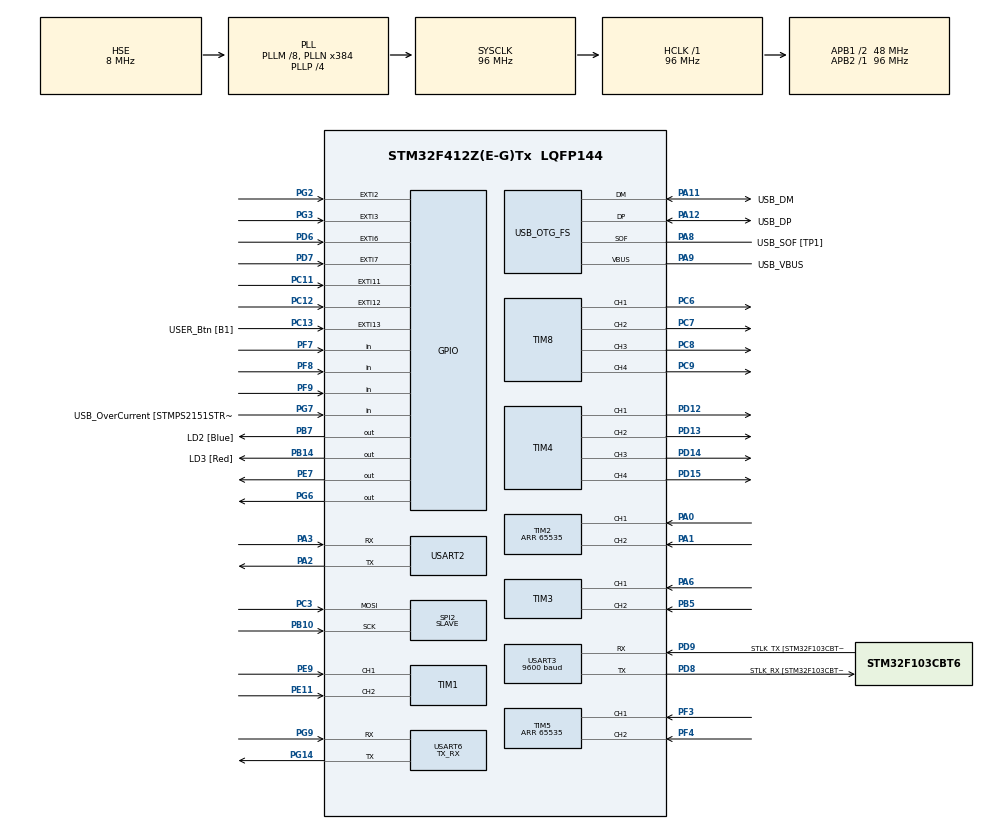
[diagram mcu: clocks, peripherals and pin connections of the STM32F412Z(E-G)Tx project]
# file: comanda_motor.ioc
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Dma.Request0=USART2_RX
Dma.Request1=USART3_RX
Dma.Request2=USART6_RX
Dma.Request3=USART3_TX
Dma.USART2_RX.0.Direction=DMA_PERIPH_TO_MEMORY
Dma.USART2_RX.0.FIFOMode=DMA_FIFOMODE_DISABLE
Dma.USART2_RX.0.Instance=DMA1_Stream5
Dma.USART2_RX.0.MemDataAlignment=DMA_MDATAALIGN_BYTE
Dma.USART2_RX.0.MemInc=DMA_MINC_ENABLE
Dma.USART2_RX.0.Mode=DMA_NORMAL
Dma.USART2_RX.0.PeriphDataAlignment=DMA_PDATAALIGN_BYTE
Dma.USART2_RX.0.PeriphInc=DMA_PINC_DISABLE
Dma.USART2_RX.0.Priority=DMA_PRIORITY_LOW
Dma.USART3_RX.1.Direction=DMA_PERIPH_TO_MEMORY
Dma.USART3_RX.1.FIFOMode=DMA_FIFOMODE_DISABLE
Dma.USART3_RX.1.Instance=DMA1_Stream1
Dma.USART3_RX.1.MemDataAlignment=DMA_MDATAALIGN_BYTE
Dma.USART3_RX.1.MemInc=DMA_MINC_ENABLE
Dma.USART3_RX.1.Mode=DMA_NORMAL
Dma.USART3_RX.1.PeriphDataAlignment=DMA_PDATAALIGN_BYTE
Dma.USART3_RX.1.PeriphInc=DMA_PINC_DISABLE
Dma.USART3_RX.1.Priority=DMA_PRIORITY_LOW
Dma.USART3_TX.3.Direction=DMA_MEMORY_TO_PERIPH
Dma.USART3_TX.3.FIFOMode=DMA_FIFOMODE_DISABLE
Dma.USART3_TX.3.Instance=DMA1_Stream3
Dma.USART3_TX.3.MemDataAlignment=DMA_MDATAALIGN_BYTE
Dma.USART3_TX.3.MemInc=DMA_MINC_ENABLE
Dma.USART3_TX.3.Mode=DMA_NORMAL
Dma.USART3_TX.3.PeriphDataAlignment=DMA_PDATAALIGN_BYTE
Dma.USART3_TX.3.PeriphInc=DMA_PINC_DISABLE
Dma.USART3_TX.3.Priority=DMA_PRIORITY_LOW
Dma.USART6_RX.2.Direction=DMA_PERIPH_TO_MEMORY
Dma.USART6_RX.2.FIFOMode=DMA_FIFOMODE_DISABLE
Dma.USART6_RX.2.Instance=DMA2_Stream1
Dma.USART6_RX.2.MemDataAlignment=DMA_MDATAALIGN_BYTE
Dma.USART6_RX.2.MemInc=DMA_MINC_ENABLE
Dma.USART6_RX.2.Mode=DMA_NORMAL
Dma.USART6_RX.2.PeriphDataAlignment=DMA_PDATAALIGN_BYTE
Dma.USART6_RX.2.PeriphInc=DMA_PINC_DISABLE
Dma.USART6_RX.2.Priority=DMA_PRIORITY_LOW
Mcu.Family=STM32F4
Mcu.Name=STM32F412Z(E-G)Tx
Mcu.Package=LQFP144
NVIC.DMA1_Stream1_IRQn=true\:0\:0\:false\:false\:true\:false\:true\:true
NVIC.DMA1_Stream3_IRQn=true\:0\:0\:false\:false\:true\:false\:true\:true
NVIC.DMA1_Stream5_IRQn=true\:0\:0\:false\:false\:true\:false\:true\:true
NVIC.DMA2_Stream1_IRQn=true\:0\:0\:false\:false\:true\:false\:true\:true
NVIC.EXTI15_10_IRQn=true\:0\:0\:false\:false\:true\:true\:true\:true
NVIC.EXTI2_IRQn=true\:0\:0\:false\:false\:true\:true\:true\:true
NVIC.EXTI3_IRQn=true\:0\:0\:false\:false\:true\:true\:true\:true
NVIC.EXTI9_5_IRQn=true\:0\:0\:false\:false\:true\:true\:true\:true
NVIC.PriorityGroup=NVIC_PRIORITYGROUP_4
NVIC.TIM1_BRK_TIM9_IRQn=true\:0\:0\:false\:false\:true\:true\:true\:true
NVIC.TIM1_UP_TIM10_IRQn=true\:0\:0\:false\:false\:true\:true\:true\:true
NVIC.TIM8_BRK_TIM12_IRQn=true\:0\:0\:false\:false\:true\:true\:true\:true
NVIC.USART2_IRQn=true\:0\:0\:false\:false\:true\:true\:true\:true
NVIC.USART3_IRQn=true\:0\:0\:false\:false\:true\:true\:true\:true
NVIC.USART6_IRQn=true\:0\:0\:false\:false\:true\:true\:true\:true
PA0.Signal=S_TIM2_CH1_ETR
PA1.Signal=S_TIM2_CH2
PA10.GPIO_Label=USB_ID
PA10.Signal=USB_OTG_FS_ID
PA11.GPIO_Label=USB_DM
PA11.Mode=Device_Only
PA11.Signal=USB_OTG_FS_DM
PA12.GPIO_Label=USB_DP
PA12.Mode=Device_Only
PA12.Signal=USB_OTG_FS_DP
PA13.GPIO_Label=TMS
PA13.Mode=Serial_Wire
PA13.Signal=SYS_JTMS-SWDIO
PA14.GPIO_Label=TCK
PA14.Mode=Serial_Wire
PA14.Signal=SYS_JTCK-SWCLK
PA2.Mode=Asynchronous
PA2.Signal=USART2_TX
PA3.Mode=Asynchronous
PA3.Signal=USART2_RX
PA6.Signal=S_TIM3_CH1
PA8.GPIO_Label=USB_SOF [TP1]
PA8.Mode=Activate_SOF_FS
PA8.Signal=USB_OTG_FS_SOF
PA9.GPIO_Label=USB_VBUS
PA9.Mode=Activate_VBUS
PA9.Signal=USB_OTG_FS_VBUS
PB10.Mode=RX_Only_Simplex_Unidirect_Slave
PB10.Signal=SPI2_SCK
PB14.GPIO_Label=LD3 [Red]
PB14.Signal=GPIO_Output
PB3.GPIO_Label=SWO
PB3.Signal=SYS_JTDO-SWO
PB5.Signal=S_TIM3_CH2
PB7.GPIO_Label=LD2 [Blue]
PB7.Signal=GPIO_Output
PC11.GPIO_ModeDefaultEXTI=GPIO_MODE_IT_RISING_FALLING
PC11.Signal=GPXTI11
PC12.GPIO_ModeDefaultEXTI=GPIO_MODE_IT_RISING_FALLING
PC12.Signal=GPXTI12
PC13.GPIO_Label=USER_Btn [B1]
PC13.Signal=GPXTI13
PC14-OSC32_IN.Mode=LSE-External-Oscillator
PC14-OSC32_IN.Signal=RCC_OSC32_IN
PC15-OSC32_OUT.Mode=LSE-External-Oscillator
PC15-OSC32_OUT.Signal=RCC_OSC32_OUT
PC3.Mode=RX_Only_Simplex_Unidirect_Slave
PC3.Signal=SPI2_MOSI
PC6.Signal=S_TIM8_CH1
PC7.Signal=S_TIM8_CH2
PC8.Signal=S_TIM8_CH3
PC9.Signal=S_TIM8_CH4
PD12.Signal=S_TIM4_CH1
PD13.Signal=S_TIM4_CH2
PD14.Signal=S_TIM4_CH3
PD15.Signal=S_TIM4_CH4
PD6.GPIO_ModeDefaultEXTI=GPIO_MODE_IT_RISING_FALLING
PD6.Signal=GPXTI6
PD7.GPIO_ModeDefaultEXTI=GPIO_MODE_IT_RISING_FALLING
PD7.Signal=GPXTI7
PD8.GPIO_Label=STLK_RX [STM32F103CBT6_PA3]
PD8.Mode=Asynchronous
PD8.Signal=USART3_TX
PD9.GPIO_Label=STLK_TX [STM32F103CBT6_PA2]
PD9.Mode=Asynchronous
PD9.Signal=USART3_RX
PE11.Signal=S_TIM1_CH2
PE7.Signal=GPIO_Output
PE9.Signal=S_TIM1_CH1
PF3.Signal=S_TIM5_CH1
PF4.Signal=S_TIM5_CH2
PF7.Signal=GPIO_Input
PF8.Signal=GPIO_Input
PF9.Signal=GPIO_Input
PG14.Mode=Asynchronous
PG14.Signal=USART6_TX
PG2.GPIO_ModeDefaultEXTI=GPIO_MODE_IT_RISING_FALLING
PG2.Signal=GPXTI2
PG3.GPIO_ModeDefaultEXTI=GPIO_MODE_IT_RISING_FALLING
PG3.Signal=GPXTI3
PG6.Signal=GPIO_Output
PG7.GPIO_Label=USB_OverCurrent [STMPS2151STR_FAULT]
PG7.Signal=GPIO_Input
PG9.Mode=Asynchronous
PG9.Signal=USART6_RX
PH0\ -\ OSC_IN.GPIO_Label=MCO
PH0\ -\ OSC_IN.Mode=HSE-External-Oscillator
PH0\ -\ OSC_IN.Signal=RCC_OSC_IN
PH1\ -\ OSC_OUT.Mode=HSE-External-Oscillator
PH1\ -\ OSC_OUT.Signal=RCC_OSC_OUT
ProjectManager.HeapSize=0x200
ProjectManager.StackSize=0x400
ProjectManager.TargetToolchain=STM32CubeIDE
RCC.48MHZClocksFreq_Value=24000000
RCC.AHBFreq_Value=96000000
RCC.APB1CLKDivider=RCC_HCLK_DIV2
RCC.APB1Freq_Value=48000000
RCC.APB1TimFreq_Value=96000000
RCC.APB2Freq_Value=96000000
RCC.APB2TimFreq_Value=96000000
RCC.CortexFreq_Value=96000000
RCC.HCLKFreq_Value=96000000
RCC.HSE_VALUE=8000000
RCC.HSI_VALUE=16000000
RCC.PLLM=8
RCC.PLLMUL=RCC_PLL_MUL9
RCC.PLLN=384
RCC.PLLP=RCC_PLLP_DIV4
RCC.PLLQ=8
RCC.PRESCALERUSB=RCC_USBCLKSOURCE_PLL_DIV1_5
RCC.SYSCLKFreq_VALUE=96000000
RCC.SYSCLKSource=RCC_SYSCLKSOURCE_PLLCLK
RCC.SYSCLKSourceVirtual=RCC_SYSCLKSOURCE_PLLCLK
RCC.USBFreq_Value=48000000
RCC.VCOOutputFreq_Value=384000000
SH.S_TIM1_CH1.0=TIM1_CH1,Encoder_Interface
SH.S_TIM1_CH2.0=TIM1_CH2,Encoder_Interface
SH.S_TIM2_CH1_ETR.0=TIM2_CH1,Encoder_Interface
SH.S_TIM2_CH2.0=TIM2_CH2,Encoder_Interface
SH.S_TIM3_CH1.0=TIM3_CH1,Encoder_Interface
SH.S_TIM3_CH2.0=TIM3_CH2,Encoder_Interface
SH.S_TIM4_CH1.0=TIM4_CH1,PWM Generation1 CH1
SH.S_TIM4_CH2.0=TIM4_CH2,PWM Generation2 CH2
SH.S_TIM4_CH3.0=TIM4_CH3,PWM Generation3 CH3
SH.S_TIM4_CH4.0=TIM4_CH4,PWM Generation4 CH4
SH.S_TIM5_CH1.0=TIM5_CH1,Encoder_Interface
SH.S_TIM5_CH2.0=TIM5_CH2,Encoder_Interface
SH.S_TIM8_CH1.0=TIM8_CH1,PWM Generation1 CH1
SH.S_TIM8_CH2.0=TIM8_CH2,PWM Generation2 CH2
SH.S_TIM8_CH3.0=TIM8_CH3,PWM Generation3 CH3
SH.S_TIM8_CH4.0=TIM8_CH4,PWM Generation4 CH4
SPI2.Direction=SPI_DIRECTION_2LINES_RXONLY
SPI2.Mode=SPI_MODE_SLAVE
SPI2.VirtualType=VM_SLAVE
TIM1.EncoderMode=TIM_ENCODERMODE_TI12
TIM10.Prescaler=1500
TIM12.Prescaler=1500
TIM2.EncoderMode=TIM_ENCODERMODE_TI12
TIM2.Period=65535
TIM3.EncoderMode=TIM_ENCODERMODE_TI12
TIM4.Channel-PWM\ Generation1\ CH1=TIM_CHANNEL_1
TIM4.Channel-PWM\ Generation2\ CH2=TIM_CHANNEL_2
TIM4.Channel-PWM\ Generation3\ CH3=TIM_CHANNEL_3
TIM4.Channel-PWM\ Generation4\ CH4=TIM_CHANNEL_4
TIM5.EncoderMode=TIM_ENCODERMODE_TI12
TIM5.Period=65535
TIM8.Channel-PWM\ Generation1\ CH1=TIM_CHANNEL_1
TIM8.Channel-PWM\ Generation2\ CH2=TIM_CHANNEL_2
TIM8.Channel-PWM\ Generation3\ CH3=TIM_CHANNEL_3
TIM8.Channel-PWM\ Generation4\ CH4=TIM_CHANNEL_4
TIM9.Period=9599
TIM9.Prescaler=999
USART2.VirtualMode=VM_ASYNC
USART3.BaudRate=9600
USART3.VirtualMode=VM_ASYNC
USART6.Mode=MODE_TX_RX
USART6.VirtualMode=VM_ASYNC
USB_OTG_FS.VirtualMode=Device_Only
VP_TIM10_VS_ClockSourceINT.Mode=Enable_Timer
VP_TIM12_VS_ClockSourceINT.Mode=Internal
VP_TIM4_VS_ClockSourceINT.Mode=Internal
VP_TIM9_VS_ClockSourceINT.Mode=Internal
board=NUCLEO-F412ZG

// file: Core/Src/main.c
/* USER CODE BEGIN Header */
/**
 ******************************************************************************
 * @file           : main.c
 * @brief          : Main program body
 ******************************************************************************
 * @attention
 *
 * Copyright (c) 2023 STMicroelectronics.
 * All rights reserved.
 *
 * This software is licensed under terms that can be found in the LICENSE file
 * in the root directory of this software component.
 * If no LICENSE file comes with this software, it is provided AS-IS.
 *
 ******************************************************************************
 */
/* USER CODE END Header */
#include "main.h"

/* USER CODE BEGIN Includes */
#include <math.h>
#include <stdio.h>
#include <string.h>
#include <stdlib.h>
#include <stdbool.h>
#include <stdint.h>
/* USER CODE END Includes */

/* USER CODE BEGIN PM */
#define PWM_UPPER_LIMIT 65535
#define PWM_LOWER_LIMIT 10000
#define TICKS_PER_REVOLUTION 1120
#define R  0.05
#define LX 0.094
#define LY 0.126

#define MAX_BUFFER_SIZE 25
#define MAX_TRAJECTORY_SIZE 8
#define MAX_CONTROLLER_SIZE 15
#define MAX_ODOMETRY_SIZE 25

#define MAX_SPEED 12.5
#define MIN_SPEED 8.0
#define DISTANCE_THRESHOLD 1

#define NUM_OF_POINTS 5
/* USER CODE END PM */

SPI_HandleTypeDef hspi2;

TIM_HandleTypeDef htim1;
TIM_HandleTypeDef htim2;
TIM_HandleTypeDef htim3;
TIM_HandleTypeDef htim4;
TIM_HandleTypeDef htim5;
TIM_HandleTypeDef htim8;
TIM_HandleTypeDef htim9;
TIM_HandleTypeDef htim10;
TIM_HandleTypeDef htim12;

UART_HandleTypeDef huart2;
UART_HandleTypeDef huart3;
UART_HandleTypeDef huart6;
DMA_HandleTypeDef hdma_usart2_rx;
DMA_HandleTypeDef hdma_usart3_rx;
DMA_HandleTypeDef hdma_usart3_tx;
DMA_HandleTypeDef hdma_usart6_rx;

PCD_HandleTypeDef hpcd_USB_OTG_FS;

void SystemClock_Config(void);
static void MX_GPIO_Init(void);
static void MX_DMA_Init(void);
static void MX_USART3_UART_Init(void);
static void MX_USB_OTG_FS_PCD_Init(void);
static void MX_TIM4_Init(void);
static void MX_TIM1_Init(void);
static void MX_TIM2_Init(void);
static void MX_TIM3_Init(void);
static void MX_TIM5_Init(void);
static void MX_TIM8_Init(void);
static void MX_TIM9_Init(void);
static void MX_USART2_UART_Init(void);
static void MX_USART6_UART_Init(void);
static void MX_SPI2_Init(void);
static void MX_TIM10_Init(void);
static void MX_TIM12_Init(void);

/* USER CODE BEGIN 0 */
/***************************************
 ********* TYPEDEFS STRUCTS ************
 ***************************************/
//MOTOR STRUCT
typedef struct {
	int32_t position, old_position;
	int32_t speed;
	double speed_rpm, speed_rad;
} MOTOR;

void MOTOR_Init(MOTOR *motor) {
	motor->position = 0;
	motor->old_position = 0;
	motor->speed = 0;
	motor->speed_rpm = 0;
	motor->speed_rad = 0;
}

//CONTROLLER STRUCT
typedef struct {
	int w, y, x;
} Controller;

void Controller_Init(Controller *ps4) {
	ps4->w = 0;
	ps4->y = 0;
	ps4->x = 0;
}
//WHEELS STRUCT
typedef struct {
	double fdr, fst, sdr, sst, max_speed, scale_factor;
} WHEELS;

void Wheels_Init(WHEELS *wheels) {
	wheels->fdr = 0;
	wheels->fst = 0;
	wheels->sdr = 0;
	wheels->sst = 0;
	wheels->max_speed = 0;
	wheels->scale_factor = 0;
}

//LIVE FOLLOWER STRUCT
typedef struct {
	double target_x, target_y, last_target_x, last_target_y;
	bool in_teleop_mode;
	bool in_live_mode;
	bool is_stopped;
} LIVE_FOLLOWER;

void LIVE_FOLLOWER_Init(LIVE_FOLLOWER *live_follower) {
	live_follower->target_x = 0;
	live_follower->target_y = 0;
	live_follower->last_target_x = 0;
	live_follower->last_target_y = 0;
	live_follower->in_teleop_mode = false;
	live_follower->in_live_mode = false;
	live_follower->is_stopped = false;
}
//COORDINATES STRUCT
typedef struct {
	double current_x, current_y, current_h;
} ODO;

void ODO_Init(ODO *odometer) {
	odometer->current_x = 0;
	odometer->current_y = 0;
	odometer->current_h = 0;
}

//PID STRUCT
typedef struct {
	float Kp;
	float Ki;
	float Kd;
	float prevError;
	float integral;
	float maxIntegral;
} PID;

void PID_Init(PID *pid, float kp, float ki, float kd) {
	pid->Kp = kp;
	pid->Ki = ki;
	pid->Kd = kd;
	pid->integral = 0;
	pid->prevError = 0;
	pid->maxIntegral = 65535;
}

/***************************************
 ********* STRUCTS DECLARATIONS ********
 ***************************************/
PID fdr_controller, fst_controller, sdr_controller, sst_controller;
MOTOR fdr, fst, sdr, sst;
WHEELS wheels;
LIVE_FOLLOWER live_follower;
ODO odometer;
Controller ps4;

//LIVE FOLLOWER BUFFER
uint8_t trajectory_buffer[MAX_TRAJECTORY_SIZE];

//TELEOP VARIABLES
uint8_t controller_buffer[MAX_CONTROLLER_SIZE];

//ODOMETRY VARIABLES
uint8_t odometry_buffer[MAX_ODOMETRY_SIZE];

//BUFFER TO SEND DATA TO HC-05
char tx_buffer[MAX_BUFFER_SIZE];

/***************************************
 ********* HELPER FUNCTIONS ************
 ***************************************/
char msg[400];
double map(long x, long in_min, long in_max, long out_min, long out_max) {
	return (double) (x - in_min) * (out_max - out_min) / (in_max - in_min)
			+ out_min;
}
int32_t percent2pwm(int x) {
	return (x - 0) * (65535 - 0) / (100 - 0) + 0;
}
int32_t rpm2pwm(int x) {
	return (x - 0) * (65535 - 0) / (160 - 0) + 0;
}
double rad2deg(double rad) {
	return (rad * (180.0 / M_PI)) - ((int) (rad * (180.0 / M_PI) / 360) * 360);
}
float rad2rpm(float rad) {
	return roundf((rad * 60) / (2 * M_PI));
}

int chars_written = 0;
void process_data() {
	chars_written = snprintf(tx_buffer, MAX_BUFFER_SIZE, "%+.2f,%+.2f,%+.2f\n", odometer.current_x, odometer.current_y, odometer.current_h);
	if (chars_written < 0 || chars_written > MAX_BUFFER_SIZE) {
		/*TODO: handle error*/
	} else {
		for (int i = chars_written; i < MAX_BUFFER_SIZE; i++) {
			tx_buffer[i] = '\n';
		}
	}
	tx_buffer[MAX_BUFFER_SIZE - 1] = '\0';
}

int32_t computeCommand(PID *pid, float setPoint, int speed) {
	int32_t output = 0;
	//calculam eroarea
	float error = abs(setPoint) - speed;
	//calculam integrala
	pid->integral += error;
	//anti windup
	if (pid->integral > pid->maxIntegral) {
		pid->integral = pid->maxIntegral;
	} else if (pid->integral < -pid->maxIntegral) {
		pid->integral = -pid->maxIntegral;
	}

	//calculam comanda
	output = pid->Kp * error + pid->Ki * pid->integral;
	if (output > 65535)
		output = 65535;
	HAL_Delay(100);

	if (setPoint < 0) {
		output *= -1;
	} else if (setPoint > 0) {
		output *= 1;
	}
	return output;
}

/***************************************
 ********* CALLBACK FUNCTIONS **********
 ***************************************/
double time = 0.0;
void HAL_TIM_PeriodElapsedCallback(TIM_HandleTypeDef *htim) {
	if (htim == &htim9) {
		//fdr
		fdr.position = __HAL_TIM_GET_COUNTER(&htim1);
		fdr.speed = fdr.position - fdr.old_position;
		fdr.speed_rpm = (double)((fdr.speed * 60.0) / 1120.0);
		fdr.speed_rad = (fdr.speed_rpm / 60) * 2 * M_PI;
		fdr.old_position = fdr.position;

		//fst
		fst.position = __HAL_TIM_GET_COUNTER(&htim2);
		fst.speed = fst.position - fst.old_position;
		fst.speed_rpm = (fst.speed * 60) / TICKS_PER_REVOLUTION;
		fst.speed_rad = (fst.speed_rpm / 60) * 2 * M_PI;
		fst.old_position = fst.position;

		//sdr
		sdr.position = __HAL_TIM_GET_COUNTER(&htim3);
		sdr.speed = sdr.position - sdr.old_position;
		sdr.speed_rpm = (sdr.speed * 60) / TICKS_PER_REVOLUTION;
		sdr.speed_rad = (sdr.speed_rpm / 60) * 2 * M_PI;
		sdr.old_position = sdr.position;

		//sst
		sst.position = __HAL_TIM_GET_COUNTER(&htim5);
		sst.speed = sst.position - sst.old_position;
		sst.speed_rpm = (sst.speed * 60) / TICKS_PER_REVOLUTION;
		sst.speed_rad = (sst.speed_rpm / 60) * 2 * M_PI;
		sst.old_position = sst.position;

		process_data();
		HAL_UART_Transmit_DMA(&huart3, (uint8_t*) tx_buffer, 25);

	}
}

/** UART CALLBACKS */
void HAL_UART_TxCpltCallback(UART_HandleTypeDef *huart) {
	if (huart == &huart3) {
//		process_data();
//		HAL_UART_Transmit_DMA(&huart3, (uint8_t *) tx_buffer, 25);
	}
}

void HAL_UART_RxCpltCallback(UART_HandleTypeDef *huart) {
	if (huart == &huart2) { //ESP32
		HAL_UART_Receive_DMA(&huart2, controller_buffer, MAX_CONTROLLER_SIZE);
		int joystick_values[3];
		int index = 0;
		char *token;

		token = strtok((char*) controller_buffer, ",");
		while (token != NULL && index < 3) {
			joystick_values[index++] = atoi(token);
			token = strtok(NULL, ",");
		}
		ps4.w = joystick_values[0]; //lx - w
		ps4.y = joystick_values[1]; //rx - y
		ps4.x = joystick_values[2]; //ry - x
	}
	if (huart == &huart6) { //BLUEPILL
		HAL_UART_Receive_DMA(&huart6, odometry_buffer, MAX_ODOMETRY_SIZE);
		double coordinates[3];
		int index = 0;
		char *token;

		token = strtok((char*) odometry_buffer, ",");
		while (token != NULL && index < 3) {
			coordinates[index++] = strtod(token, NULL);
			token = strtok(NULL, ",");
		}
		odometer.current_x = (double) ((int) (coordinates[0] * 100)) / 100;
		odometer.current_y = (double) ((int) (coordinates[1] * 100)) / 100;
		odometer.current_h = (double) ((int) (coordinates[2] * 100)) / 100;
	}
	if (huart == &huart3) { //HC-05
		HAL_UART_Receive_DMA(&huart3, trajectory_buffer, MAX_TRAJECTORY_SIZE);
		double trajectory[3];
		int index = 0;
		char *token;

		token = strtok((char*) trajectory_buffer, ",");
		if (strcmp(token, "L") == 0) {
			//ne pregatim sa primim date pentru live follower
			live_follower.in_teleop_mode = false;
			live_follower.in_live_mode = true;
			live_follower.is_stopped = false;
		} else if (strcmp(token, "T") == 0) {
			//ne pregatim sa primim date pentru teleop
			live_follower.in_teleop_mode = true;
			live_follower.in_live_mode = false;
			live_follower.is_stopped = false;
		} else if (strcmp(token, "S") == 0) {
			//ne pregatim sa primim date pentru stop
			live_follower.in_teleop_mode = false;
			live_follower.in_live_mode = false;
			live_follower.is_stopped = true;
		}

		if (strcmp(token, "L") != 0 && strcmp(token, "T") != 0) {
			while (token != NULL && index < 3) {
				trajectory[index++] = strtod(token, NULL);
				token = strtok(NULL, ",");
			}
			live_follower.target_x = trajectory[0];
			live_follower.target_y = trajectory[1];
		}
	}
}
/***************************************
 ********* MOVEMENT FUNCTIONS **********
 ***************************************/

void fdr_set_pwm(int32_t pwm_value) {
	if (pwm_value > 0) {
		TIM4->CCR3 = 0; // L
		TIM4->CCR4 = pwm_value; // R
	} else if (pwm_value < 0) {
		TIM4->CCR4 = 0; // R
		TIM4->CCR3 = pwm_value * -1; // L
	} else if (pwm_value == 0) {
		TIM4->CCR4 = 0; // R
		TIM4->CCR3 = 0; // L
	}
}
void fst_set_pwm(int32_t pwm_value) {
	if (pwm_value > 0) {
		TIM4->CCR2 = 0; // L
		TIM4->CCR1 = pwm_value; // R
	} else if (pwm_value < 0) {
		TIM4->CCR1 = 0; // R
		TIM4->CCR2 = pwm_value * -1; // L
	} else if (pwm_value == 0) {
		TIM4->CCR1 = 0; // R
		TIM4->CCR2 = 0; // L
	}
}
void sdr_set_pwm(int32_t pwm_value) {
	if (pwm_value > 0) {
		TIM8->CCR3 = 0; // R
		TIM8->CCR4 = pwm_value; // L
	} else if (pwm_value < 0) {
		TIM8->CCR4 = 0; // L
		TIM8->CCR3 = pwm_value * -1; // R
	} else if (pwm_value == 0) {
		TIM8->CCR4 = 0; // R
		TIM8->CCR3 = 0; // L
	}
}
void sst_set_pwm(int32_t pwm_value) {
	if (pwm_value > 0) {
		TIM8->CCR2 = 0; // L
		TIM8->CCR1 = pwm_value; // R
	} else if (pwm_value < 0) {
		TIM8->CCR1 = 0; // R
		TIM8->CCR2 = pwm_value * -1; // L
	} else if (pwm_value == 0) {
		TIM8->CCR1 = 0; // R
		TIM8->CCR2 = 0; // L
	}
}
void run_motors(double fdr_rpm_ref, double sdr_rpm_ref, double fst_rpm_ref, double sst_rpm_ref) {
	fdr_set_pwm(computeCommand(&fdr_controller, rpm2pwm(fdr_rpm_ref), fdr.speed));
	sdr_set_pwm(computeCommand(&sdr_controller, rpm2pwm(sdr_rpm_ref), sdr.speed));
	fst_set_pwm(computeCommand(&fst_controller, rpm2pwm(fst_rpm_ref), fst.speed));
	sst_set_pwm(computeCommand(&sst_controller, rpm2pwm(sst_rpm_ref), sst.speed));
}
void stop_motors() {
	fdr_set_pwm(0);
	sdr_set_pwm(0);
	fst_set_pwm(0);
	sst_set_pwm(0);
}

void compute_wheel_speeds(double Vx, double Vy, double Wz) {
	//pentru directia rotilor ne luam dupa asta https://www.itm-conferences.org/articles/itmconf/pdf/2020/05/itmconf_itee2020_04001.pdf
	wheels.fst = ((1 / R) * (Vx - Vy - ((LX + LY) * Wz))) / 40;
	wheels.fdr = ((1 / R) * (Vx + Vy + ((LX + LY) * Wz))) / 40;
	wheels.sst = ((1 / R) * (Vx + Vy - ((LX + LY) * Wz))) / 40;
	wheels.sdr = ((1 / R) * (Vx - Vy + ((LX + LY) * Wz))) / 40;

	wheels.max_speed = fmax(fmax(fabs(wheels.fst), fabs(wheels.fdr)),
			fmax(fabs(wheels.sst), fabs(wheels.sdr)));

	if (wheels.max_speed > MAX_SPEED) {
		wheels.scale_factor = fabs(MAX_SPEED / wheels.max_speed);
		wheels.fst *= wheels.scale_factor;
		wheels.fdr *= wheels.scale_factor;
		wheels.sst *= wheels.scale_factor;
		wheels.sdr *= wheels.scale_factor;

	} else if (wheels.max_speed < MIN_SPEED) {
		wheels.scale_factor = fabs(MIN_SPEED / wheels.max_speed);
		wheels.fst *= wheels.scale_factor;
		wheels.fdr *= wheels.scale_factor;
		wheels.sst *= wheels.scale_factor;
		wheels.sdr *= wheels.scale_factor;
	}

	wheels.fst = rad2rpm(wheels.fst);
	wheels.fdr = rad2rpm(wheels.fdr);
	wheels.sst = rad2rpm(wheels.sst);
	wheels.sdr = rad2rpm(wheels.sdr);
}

double Vx = 0, Vy = 0, W = 0;
void go_to_target_point(double final_x, double final_y, double angular_velocity) {
	HAL_UART_Receive_DMA(&huart6, odometry_buffer, MAX_ODOMETRY_SIZE);
	while (true) {
		//To know when to exit the loop
		HAL_UART_Receive_DMA(&huart3, trajectory_buffer, MAX_TRAJECTORY_SIZE);

		Vx = final_x - odometer.current_x;
		Vy = final_y - odometer.current_y;
		W = angular_velocity;
		double distance_to_target = sqrt(Vx * Vx + Vy * Vy);

		if (distance_to_target < DISTANCE_THRESHOLD
				|| live_follower.is_stopped) {
			break;
		}

		compute_wheel_speeds(Vx, Vy, W);
		run_motors(wheels.fdr, wheels.sdr, wheels.fst, wheels.sst);
	}
	stop_motors();
}

/***************************************
 ************ OP MODES *****************
 ***************************************/

//HARDCODED TRAJECTORY
double points[NUM_OF_POINTS][3] = { { 50, 50.0, 0.0 }, { -50, 40.0, 0.0 }, {
		-50.0, -40.0, 0.0 }, { 50.0, -50.0, 0.0 }, { 0.0, 0.0, 0.0 } };

int visited[NUM_OF_POINTS] = { 0, 0, 0, 0, 0 };
void auto_op_mode() {
	HAL_UART_Receive_DMA(&huart6, odometry_buffer, MAX_ODOMETRY_SIZE);
	for (int i = 0; i < NUM_OF_POINTS; i++) {
		if (!visited[i]) {
			go_to_target_point(points[i][0], points[i][1], points[i][2]);
			visited[i] = 1;
		}
	}
}

void live_op_mode() {
	HAL_UART_Receive_DMA(&huart3, trajectory_buffer, MAX_TRAJECTORY_SIZE);
	live_follower.last_target_x = 0;
	live_follower.last_target_y = 0;

	while (live_follower.in_live_mode || !live_follower.is_stopped) {
		//To know when to exit the live op mode
		HAL_UART_Receive_DMA(&huart3, trajectory_buffer, MAX_TRAJECTORY_SIZE);

		if (live_follower.target_x != live_follower.last_target_x
				|| live_follower.target_y != live_follower.last_target_y)
			go_to_target_point(live_follower.target_x, live_follower.target_y,
					0);

		live_follower.last_target_x = live_follower.target_x;
		live_follower.last_target_y = live_follower.target_y;
	}

	if (live_follower.is_stopped) {
		stop_motors();
	}
}
void tele_op_mode() {
	int32_t fdr_pwm = 0, sdr_pwm = 0, fst_pwm = 0, sst_pwm = 0;
	double fdr_ref = 0, sdr_ref = 0, fst_ref = 0, sst_ref = 0;
	HAL_UART_Receive_DMA(&huart2, controller_buffer, MAX_CONTROLLER_SIZE);
	//lx - ps4.w
	//rx - ps4.y
	//ry - ps4.x
	while (live_follower.in_teleop_mode || !live_follower.is_stopped) {
		//To know when to exit the teleop mode
		HAL_UART_Receive_DMA(&huart3, trajectory_buffer, MAX_TRAJECTORY_SIZE);

		HAL_UART_Receive_DMA(&huart2, controller_buffer, MAX_CONTROLLER_SIZE);
		fdr_ref = map(-ps4.x, -512, 512, -1, 1) + map(-ps4.y, -512, 512, -1, 1)
				+ map(-ps4.w, -512, 512, -1, 1);
		sdr_ref = map(-ps4.x, -512, 512, -1, 1) - map(-ps4.y, -512, 512, -1, 1)
				+ map(-ps4.w, -512, 512, -1, 1);
		fst_ref = map(-ps4.x, -512, 512, -1, 1) - map(-ps4.y, -512, 512, -1, 1)
				- map(-ps4.w, -512, 512, -1, 1);
		sst_ref = map(-ps4.x, -512, 512, -1, 1) + map(-ps4.y, -512, 512, -1, 1)
				- map(-ps4.w, -512, 512, -1, 1);

		fdr_pwm = percent2pwm(fdr_ref * 100);
		sdr_pwm = percent2pwm(sdr_ref * 100);
		fst_pwm = percent2pwm(fst_ref * 100);
		sst_pwm = percent2pwm(sst_ref * 100);

		fdr_pwm =
				(fdr_pwm > PWM_UPPER_LIMIT) ? PWM_UPPER_LIMIT :
				(fdr_pwm < -PWM_UPPER_LIMIT) ? -PWM_UPPER_LIMIT :
				(fdr_pwm > -PWM_LOWER_LIMIT && fdr_pwm < PWM_LOWER_LIMIT) ?
						0 : fdr_pwm;
		sdr_pwm =
				(sdr_pwm > PWM_UPPER_LIMIT) ? PWM_UPPER_LIMIT :
				(sdr_pwm < -PWM_UPPER_LIMIT) ? -PWM_UPPER_LIMIT :
				(sdr_pwm > -PWM_LOWER_LIMIT && sdr_pwm < PWM_LOWER_LIMIT) ?
						0 : sdr_pwm;
		fst_pwm =
				(fst_pwm > PWM_UPPER_LIMIT) ? PWM_UPPER_LIMIT :
				(fst_pwm < -PWM_UPPER_LIMIT) ? -PWM_UPPER_LIMIT :
				(fst_pwm > -PWM_LOWER_LIMIT && fst_pwm < PWM_LOWER_LIMIT) ?
						0 : fst_pwm;
		sst_pwm =
				(sst_pwm > PWM_UPPER_LIMIT) ? PWM_UPPER_LIMIT :
				(sst_pwm < -PWM_UPPER_LIMIT) ? -PWM_UPPER_LIMIT :
				(sst_pwm > -PWM_LOWER_LIMIT && sst_pwm < PWM_LOWER_LIMIT) ?
						0 : sst_pwm;

		fdr_set_pwm(fdr_pwm);
		sdr_set_pwm(sdr_pwm);
		fst_set_pwm(fst_pwm);
		sst_set_pwm(sst_pwm);
	}
	if (live_follower.is_stopped) {
		stop_motors();
	}
}
double fdr_getDistance() {
	return (10 * M_PI * fdr.position) / 1120; // ticks to cm
}
void identificare(){
	while(fdr_getDistance() < 200)
	{
		fst_set_pwm(65535/2);
		sst_set_pwm(65535/2);
		fdr_set_pwm(65535/2);
		sdr_set_pwm(65535/2);

		sprintf(msg, "Referinta(PWM): %ld, FDR Speed(RPM): %f, FDR Speed(i/r): %ld, Time(s): %f \r\n", TIM4->CCR4, fdr.speed_rpm*10, fdr.speed, time/1000.0);
		HAL_UART_Transmit(&huart3, (uint8_t*) msg, strlen(msg), HAL_MAX_DELAY);
	}
	while (fdr_getDistance() < 400) {
		fst_set_pwm(65535);
		sst_set_pwm(65535);
		fdr_set_pwm(65535);
		sdr_set_pwm(65535);

		sprintf(msg, "Referinta(PWM): %ld, FDR Speed(RPM): %f, FDR Speed(i/r): %ld, Time(s): %f \r\n", TIM4->CCR4, fdr.speed_rpm*10, fdr.speed, time/1000.0);
		HAL_UART_Transmit(&huart3, (uint8_t*) msg, strlen(msg), HAL_MAX_DELAY);
	}
	sprintf(msg, "Referinta(PWM): %ld, FDR Speed(RPM): %f, FDR Speed(i/r): %ld, Time(s): %f \r\n", TIM4->CCR4, fdr.speed_rpm*10, fdr.speed, time/1000.0);
	HAL_UART_Transmit(&huart3, (uint8_t*) msg, strlen(msg), HAL_MAX_DELAY);
	stop_motors();
}
/* USER CODE END 0 */

int main(void)
{

  /* MCU Configuration--------------------------------------------------------*/

  /* Reset of all peripherals, Initializes the Flash interface and the Systick. */
  HAL_Init();

  /* Configure the system clock */
  SystemClock_Config();

  /* Initialize all configured peripherals */
  MX_GPIO_Init();
  MX_DMA_Init();
  MX_USART3_UART_Init();
  MX_USB_OTG_FS_PCD_Init();
  MX_TIM4_Init();
  MX_TIM1_Init();
  MX_TIM2_Init();
  MX_TIM3_Init();
  MX_TIM5_Init();
  MX_TIM8_Init();
  MX_TIM9_Init();
  MX_USART2_UART_Init();
  MX_USART6_UART_Init();
  MX_SPI2_Init();
  MX_TIM10_Init();
  MX_TIM12_Init();
  /* USER CODE BEGIN 2 */
	HAL_TIM_PWM_Start(&htim4, TIM_CHANNEL_1);
	HAL_TIM_PWM_Start(&htim4, TIM_CHANNEL_2);
	HAL_TIM_PWM_Start(&htim4, TIM_CHANNEL_3);
	HAL_TIM_PWM_Start(&htim4, TIM_CHANNEL_4);

	HAL_TIM_PWM_Start(&htim8, TIM_CHANNEL_1);
	HAL_TIM_PWM_Start(&htim8, TIM_CHANNEL_2);
	HAL_TIM_PWM_Start(&htim8, TIM_CHANNEL_3);
	HAL_TIM_PWM_Start(&htim8, TIM_CHANNEL_4);

	HAL_NVIC_EnableIRQ(TIM1_BRK_TIM9_IRQn);
	HAL_NVIC_EnableIRQ(TIM1_UP_TIM10_IRQn);
	HAL_NVIC_EnableIRQ(TIM8_BRK_TIM12_IRQn);
	HAL_TIM_Base_Start_IT(&htim9);
	HAL_TIM_Base_Start_IT(&htim12);

	MOTOR_Init(&fdr);
	MOTOR_Init(&fst);
	MOTOR_Init(&sdr);
	MOTOR_Init(&sst);
	Controller_Init(&ps4);
	Wheels_Init(&wheels);
	LIVE_FOLLOWER_Init(&live_follower);
	ODO_Init(&odometer);

	//RECEIVE DATA FROM BLUEPILL
	HAL_UART_Receive_DMA(&huart6, odometry_buffer, 25);

	//RECEIVE DATA FROM HC-05 merge
	HAL_UART_Receive_DMA(&huart3, trajectory_buffer, MAX_TRAJECTORY_SIZE);

	//TRANSMIT DATA TO HC-05
	process_data();

	PID_Init(&fdr_controller, 1, 1, 0);
	PID_Init(&fst_controller, 1, 1, 0);
	PID_Init(&sdr_controller, 1, 1, 0);
	PID_Init(&sst_controller, 1, 1, 0);

  /* USER CODE END 2 */

  /* Infinite loop */
  /* USER CODE BEGIN WHILE */
	while (1) {

		//RECEIVE DATA FROM HC-05 merge
		HAL_UART_Receive_DMA(&huart3, trajectory_buffer, MAX_TRAJECTORY_SIZE);

		if (live_follower.is_stopped) {
			stop_motors();

		} else if (live_follower.in_teleop_mode) {
			//TELEOP
			tele_op_mode();

		} else if (!live_follower.in_teleop_mode) {
			//AUTO OP MODE
			live_op_mode();
		}

    /* USER CODE END WHILE */

	}
}

void SystemClock_Config(void)
{
  RCC_OscInitTypeDef RCC_OscInitStruct = {0};
  RCC_ClkInitTypeDef RCC_ClkInitStruct = {0};

  /** Configure the main internal regulator output voltage
  */
  __HAL_RCC_PWR_CLK_ENABLE();
  __HAL_PWR_VOLTAGESCALING_CONFIG(PWR_REGULATOR_VOLTAGE_SCALE1);

  /** Initializes the RCC Oscillators according to the specified parameters
  * in the RCC_OscInitTypeDef structure.
  */
  RCC_OscInitStruct.OscillatorType = RCC_OSCILLATORTYPE_HSE;
  RCC_OscInitStruct.HSEState = RCC_HSE_ON;
  RCC_OscInitStruct.PLL.PLLState = RCC_PLL_ON;
  RCC_OscInitStruct.PLL.PLLSource = RCC_PLLSOURCE_HSE;
  RCC_OscInitStruct.PLL.PLLM = 8;
  RCC_OscInitStruct.PLL.PLLN = 384;
  RCC_OscInitStruct.PLL.PLLP = RCC_PLLP_DIV4;
  RCC_OscInitStruct.PLL.PLLQ = 8;
  RCC_OscInitStruct.PLL.PLLR = 2;
  if (HAL_RCC_OscConfig(&RCC_OscInitStruct) != HAL_OK)
  {
    Error_Handler();
  }

  /** Initializes the CPU, AHB and APB buses clocks
  */
  RCC_ClkInitStruct.ClockType = RCC_CLOCKTYPE_HCLK|RCC_CLOCKTYPE_SYSCLK
                              |RCC_CLOCKTYPE_PCLK1|RCC_CLOCKTYPE_PCLK2;
  RCC_ClkInitStruct.SYSCLKSource = RCC_SYSCLKSOURCE_PLLCLK;
  RCC_ClkInitStruct.AHBCLKDivider = RCC_SYSCLK_DIV1;
  RCC_ClkInitStruct.APB1CLKDivider = RCC_HCLK_DIV2;
  RCC_ClkInitStruct.APB2CLKDivider = RCC_HCLK_DIV1;

  if (HAL_RCC_ClockConfig(&RCC_ClkInitStruct, FLASH_LATENCY_3) != HAL_OK)
  {
    Error_Handler();
  }
}

static void MX_SPI2_Init(void)
{

  /* SPI2 parameter configuration*/
  hspi2.Instance = SPI2;
  hspi2.Init.Mode = SPI_MODE_SLAVE;
  hspi2.Init.Direction = SPI_DIRECTION_2LINES_RXONLY;
  hspi2.Init.DataSize = SPI_DATASIZE_8BIT;
  hspi2.Init.CLKPolarity = SPI_POLARITY_LOW;
  hspi2.Init.CLKPhase = SPI_PHASE_1EDGE;
  hspi2.Init.NSS = SPI_NSS_SOFT;
  hspi2.Init.FirstBit = SPI_FIRSTBIT_MSB;
  hspi2.Init.TIMode = SPI_TIMODE_DISABLE;
  hspi2.Init.CRCCalculation = SPI_CRCCALCULATION_DISABLE;
  hspi2.Init.CRCPolynomial = 10;
  if (HAL_SPI_Init(&hspi2) != HAL_OK)
  {
    Error_Handler();
  }

}

static void MX_TIM1_Init(void)
{

  TIM_Encoder_InitTypeDef sConfig = {0};
  TIM_MasterConfigTypeDef sMasterConfig = {0};

  htim1.Instance = TIM1;
  htim1.Init.Prescaler = 0;
  htim1.Init.CounterMode = TIM_COUNTERMODE_UP;
  htim1.Init.Period = 65535;
  htim1.Init.ClockDivision = TIM_CLOCKDIVISION_DIV1;
  htim1.Init.RepetitionCounter = 0;
  htim1.Init.AutoReloadPreload = TIM_AUTORELOAD_PRELOAD_DISABLE;
  sConfig.EncoderMode = TIM_ENCODERMODE_TI12;
  sConfig.IC1Polarity = TIM_ICPOLARITY_RISING;
  sConfig.IC1Selection = TIM_ICSELECTION_DIRECTTI;
  sConfig.IC1Prescaler = TIM_ICPSC_DIV1;
  sConfig.IC1Filter = 0;
  sConfig.IC2Polarity = TIM_ICPOLARITY_RISING;
  sConfig.IC2Selection = TIM_ICSELECTION_DIRECTTI;
  sConfig.IC2Prescaler = TIM_ICPSC_DIV1;
  sConfig.IC2Filter = 0;
  if (HAL_TIM_Encoder_Init(&htim1, &sConfig) != HAL_OK)
  {
    Error_Handler();
  }
  sMasterConfig.MasterOutputTrigger = TIM_TRGO_RESET;
  sMasterConfig.MasterSlaveMode = TIM_MASTERSLAVEMODE_DISABLE;
  if (HAL_TIMEx_MasterConfigSynchronization(&htim1, &sMasterConfig) != HAL_OK)
  {
    Error_Handler();
  }
  /* USER CODE BEGIN TIM1_Init 2 */
	HAL_TIM_Encoder_Start(&htim1, TIM_CHANNEL_ALL);
  /* USER CODE END TIM1_Init 2 */

}

static void MX_TIM2_Init(void)
{

  TIM_Encoder_InitTypeDef sConfig = {0};
  TIM_MasterConfigTypeDef sMasterConfig = {0};

  htim2.Instance = TIM2;
  htim2.Init.Prescaler = 0;
  htim2.Init.CounterMode = TIM_COUNTERMODE_UP;
  htim2.Init.Period = 65535;
  htim2.Init.ClockDivision = TIM_CLOCKDIVISION_DIV1;
  htim2.Init.AutoReloadPreload = TIM_AUTORELOAD_PRELOAD_DISABLE;
  sConfig.EncoderMode = TIM_ENCODERMODE_TI12;
  sConfig.IC1Polarity = TIM_ICPOLARITY_RISING;
  sConfig.IC1Selection = TIM_ICSELECTION_DIRECTTI;
  sConfig.IC1Prescaler = TIM_ICPSC_DIV1;
  sConfig.IC1Filter = 0;
  sConfig.IC2Polarity = TIM_ICPOLARITY_RISING;
  sConfig.IC2Selection = TIM_ICSELECTION_DIRECTTI;
  sConfig.IC2Prescaler = TIM_ICPSC_DIV1;
  sConfig.IC2Filter = 0;
  if (HAL_TIM_Encoder_Init(&htim2, &sConfig) != HAL_OK)
  {
    Error_Handler();
  }
  sMasterConfig.MasterOutputTrigger = TIM_TRGO_RESET;
  sMasterConfig.MasterSlaveMode = TIM_MASTERSLAVEMODE_DISABLE;
  if (HAL_TIMEx_MasterConfigSynchronization(&htim2, &sMasterConfig) != HAL_OK)
  {
    Error_Handler();
  }
  /* USER CODE BEGIN TIM2_Init 2 */
	HAL_TIM_Encoder_Start(&htim2, TIM_CHANNEL_ALL);
  /* USER CODE END TIM2_Init 2 */

}

static void MX_TIM3_Init(void)
{

  TIM_Encoder_InitTypeDef sConfig = {0};
  TIM_MasterConfigTypeDef sMasterConfig = {0};

  htim3.Instance = TIM3;
  htim3.Init.Prescaler = 0;
  htim3.Init.CounterMode = TIM_COUNTERMODE_UP;
  htim3.Init.Period = 65535;
  htim3.Init.ClockDivision = TIM_CLOCKDIVISION_DIV1;
  htim3.Init.AutoReloadPreload = TIM_AUTORELOAD_PRELOAD_DISABLE;
  sConfig.EncoderMode = TIM_ENCODERMODE_TI12;
  sConfig.IC1Polarity = TIM_ICPOLARITY_RISING;
  sConfig.IC1Selection = TIM_ICSELECTION_DIRECTTI;
  sConfig.IC1Prescaler = TIM_ICPSC_DIV1;
  sConfig.IC1Filter = 0;
  sConfig.IC2Polarity = TIM_ICPOLARITY_RISING;
  sConfig.IC2Selection = TIM_ICSELECTION_DIRECTTI;
  sConfig.IC2Prescaler = TIM_ICPSC_DIV1;
  sConfig.IC2Filter = 0;
  if (HAL_TIM_Encoder_Init(&htim3, &sConfig) != HAL_OK)
  {
    Error_Handler();
  }
  sMasterConfig.MasterOutputTrigger = TIM_TRGO_RESET;
  sMasterConfig.MasterSlaveMode = TIM_MASTERSLAVEMODE_DISABLE;
  if (HAL_TIMEx_MasterConfigSynchronization(&htim3, &sMasterConfig) != HAL_OK)
  {
    Error_Handler();
  }
  /* USER CODE BEGIN TIM3_Init 2 */
	HAL_TIM_Encoder_Start(&htim3, TIM_CHANNEL_ALL);
  /* USER CODE END TIM3_Init 2 */

}

static void MX_TIM4_Init(void)
{

  TIM_ClockConfigTypeDef sClockSourceConfig = {0};
  TIM_MasterConfigTypeDef sMasterConfig = {0};
  TIM_OC_InitTypeDef sConfigOC = {0};

  htim4.Instance = TIM4;
  htim4.Init.Prescaler = 0;
  htim4.Init.CounterMode = TIM_COUNTERMODE_UP;
  htim4.Init.Period = 65535;
  htim4.Init.ClockDivision = TIM_CLOCKDIVISION_DIV1;
  htim4.Init.AutoReloadPreload = TIM_AUTORELOAD_PRELOAD_DISABLE;
  if (HAL_TIM_Base_Init(&htim4) != HAL_OK)
  {
    Error_Handler();
  }
  sClockSourceConfig.ClockSource = TIM_CLOCKSOURCE_INTERNAL;
  if (HAL_TIM_ConfigClockSource(&htim4, &sClockSourceConfig) != HAL_OK)
  {
    Error_Handler();
  }
  if (HAL_TIM_PWM_Init(&htim4) != HAL_OK)
  {
    Error_Handler();
  }
  sMasterConfig.MasterOutputTrigger = TIM_TRGO_RESET;
  sMasterConfig.MasterSlaveMode = TIM_MASTERSLAVEMODE_DISABLE;
  if (HAL_TIMEx_MasterConfigSynchronization(&htim4, &sMasterConfig) != HAL_OK)
  {
    Error_Handler();
  }
  sConfigOC.OCMode = TIM_OCMODE_PWM1;
  sConfigOC.Pulse = 0;
  sConfigOC.OCPolarity = TIM_OCPOLARITY_HIGH;
  sConfigOC.OCFastMode = TIM_OCFAST_DISABLE;
  if (HAL_TIM_PWM_ConfigChannel(&htim4, &sConfigOC, TIM_CHANNEL_1) != HAL_OK)
  {
    Error_Handler();
  }
  if (HAL_TIM_PWM_ConfigChannel(&htim4, &sConfigOC, TIM_CHANNEL_2) != HAL_OK)
  {
    Error_Handler();
  }
  if (HAL_TIM_PWM_ConfigChannel(&htim4, &sConfigOC, TIM_CHANNEL_3) != HAL_OK)
  {
    Error_Handler();
  }
  if (HAL_TIM_PWM_ConfigChannel(&htim4, &sConfigOC, TIM_CHANNEL_4) != HAL_OK)
  {
    Error_Handler();
  }
  HAL_TIM_MspPostInit(&htim4);

}

static void MX_TIM5_Init(void)
{

  TIM_Encoder_InitTypeDef sConfig = {0};
  TIM_MasterConfigTypeDef sMasterConfig = {0};

  htim5.Instance = TIM5;
  htim5.Init.Prescaler = 0;
  htim5.Init.CounterMode = TIM_COUNTERMODE_UP;
  htim5.Init.Period = 65535;
  htim5.Init.ClockDivision = TIM_CLOCKDIVISION_DIV1;
  htim5.Init.AutoReloadPreload = TIM_AUTORELOAD_PRELOAD_DISABLE;
  sConfig.EncoderMode = TIM_ENCODERMODE_TI12;
  sConfig.IC1Polarity = TIM_ICPOLARITY_RISING;
  sConfig.IC1Selection = TIM_ICSELECTION_DIRECTTI;
  sConfig.IC1Prescaler = TIM_ICPSC_DIV1;
  sConfig.IC1Filter = 0;
  sConfig.IC2Polarity = TIM_ICPOLARITY_RISING;
  sConfig.IC2Selection = TIM_ICSELECTION_DIRECTTI;
  sConfig.IC2Prescaler = TIM_ICPSC_DIV1;
  sConfig.IC2Filter = 0;
  if (HAL_TIM_Encoder_Init(&htim5, &sConfig) != HAL_OK)
  {
    Error_Handler();
  }
  sMasterConfig.MasterOutputTrigger = TIM_TRGO_RESET;
  sMasterConfig.MasterSlaveMode = TIM_MASTERSLAVEMODE_DISABLE;
  if (HAL_TIMEx_MasterConfigSynchronization(&htim5, &sMasterConfig) != HAL_OK)
  {
    Error_Handler();
  }
  /* USER CODE BEGIN TIM5_Init 2 */
	HAL_TIM_Encoder_Start(&htim5, TIM_CHANNEL_ALL);
  /* USER CODE END TIM5_Init 2 */

}

static void MX_TIM8_Init(void)
{

  TIM_MasterConfigTypeDef sMasterConfig = {0};
  TIM_OC_InitTypeDef sConfigOC = {0};
  TIM_BreakDeadTimeConfigTypeDef sBreakDeadTimeConfig = {0};

  htim8.Instance = TIM8;
  htim8.Init.Prescaler = 0;
  htim8.Init.CounterMode = TIM_COUNTERMODE_UP;
  htim8.Init.Period = 65535;
  htim8.Init.ClockDivision = TIM_CLOCKDIVISION_DIV1;
  htim8.Init.RepetitionCounter = 0;
  htim8.Init.AutoReloadPreload = TIM_AUTORELOAD_PRELOAD_DISABLE;
  if (HAL_TIM_PWM_Init(&htim8) != HAL_OK)
  {
    Error_Handler();
  }
  sMasterConfig.MasterOutputTrigger = TIM_TRGO_RESET;
  sMasterConfig.MasterSlaveMode = TIM_MASTERSLAVEMODE_DISABLE;
  if (HAL_TIMEx_MasterConfigSynchronization(&htim8, &sMasterConfig) != HAL_OK)
  {
    Error_Handler();
  }
  sConfigOC.OCMode = TIM_OCMODE_PWM1;
  sConfigOC.Pulse = 0;
  sConfigOC.OCPolarity = TIM_OCPOLARITY_HIGH;
  sConfigOC.OCNPolarity = TIM_OCNPOLARITY_HIGH;
  sConfigOC.OCFastMode = TIM_OCFAST_DISABLE;
  sConfigOC.OCIdleState = TIM_OCIDLESTATE_RESET;
  sConfigOC.OCNIdleState = TIM_OCNIDLESTATE_RESET;
  if (HAL_TIM_PWM_ConfigChannel(&htim8, &sConfigOC, TIM_CHANNEL_1) != HAL_OK)
  {
    Error_Handler();
  }
  if (HAL_TIM_PWM_ConfigChannel(&htim8, &sConfigOC, TIM_CHANNEL_2) != HAL_OK)
  {
    Error_Handler();
  }
  if (HAL_TIM_PWM_ConfigChannel(&htim8, &sConfigOC, TIM_CHANNEL_3) != HAL_OK)
  {
    Error_Handler();
  }
  if (HAL_TIM_PWM_ConfigChannel(&htim8, &sConfigOC, TIM_CHANNEL_4) != HAL_OK)
  {
    Error_Handler();
  }
  sBreakDeadTimeConfig.OffStateRunMode = TIM_OSSR_DISABLE;
  sBreakDeadTimeConfig.OffStateIDLEMode = TIM_OSSI_DISABLE;
  sBreakDeadTimeConfig.LockLevel = TIM_LOCKLEVEL_OFF;
  sBreakDeadTimeConfig.DeadTime = 0;
  sBreakDeadTimeConfig.BreakState = TIM_BREAK_DISABLE;
  sBreakDeadTimeConfig.BreakPolarity = TIM_BREAKPOLARITY_HIGH;
  sBreakDeadTimeConfig.AutomaticOutput = TIM_AUTOMATICOUTPUT_DISABLE;
  if (HAL_TIMEx_ConfigBreakDeadTime(&htim8, &sBreakDeadTimeConfig) != HAL_OK)
  {
    Error_Handler();
  }
  HAL_TIM_MspPostInit(&htim8);

}

static void MX_TIM9_Init(void)
{

  TIM_ClockConfigTypeDef sClockSourceConfig = {0};

  htim9.Instance = TIM9;
  htim9.Init.Prescaler = 999;
  htim9.Init.CounterMode = TIM_COUNTERMODE_UP;
  htim9.Init.Period = 9599;
  htim9.Init.ClockDivision = TIM_CLOCKDIVISION_DIV1;
  htim9.Init.AutoReloadPreload = TIM_AUTORELOAD_PRELOAD_DISABLE;
  if (HAL_TIM_Base_Init(&htim9) != HAL_OK)
  {
    Error_Handler();
  }
  sClockSourceConfig.ClockSource = TIM_CLOCKSOURCE_INTERNAL;
  if (HAL_TIM_ConfigClockSource(&htim9, &sClockSourceConfig) != HAL_OK)
  {
    Error_Handler();
  }

}

static void MX_TIM10_Init(void)
{

  htim10.Instance = TIM10;
  htim10.Init.Prescaler = 1500;
  htim10.Init.CounterMode = TIM_COUNTERMODE_UP;
  htim10.Init.Period = 65535;
  htim10.Init.ClockDivision = TIM_CLOCKDIVISION_DIV1;
  htim10.Init.AutoReloadPreload = TIM_AUTORELOAD_PRELOAD_DISABLE;
  if (HAL_TIM_Base_Init(&htim10) != HAL_OK)
  {
    Error_Handler();
  }

}

static void MX_TIM12_Init(void)
{

  TIM_ClockConfigTypeDef sClockSourceConfig = {0};

  htim12.Instance = TIM12;
  htim12.Init.Prescaler = 1500;
  htim12.Init.CounterMode = TIM_COUNTERMODE_UP;
  htim12.Init.Period = 65535;
  htim12.Init.ClockDivision = TIM_CLOCKDIVISION_DIV1;
  htim12.Init.AutoReloadPreload = TIM_AUTORELOAD_PRELOAD_DISABLE;
  if (HAL_TIM_Base_Init(&htim12) != HAL_OK)
  {
    Error_Handler();
  }
  sClockSourceConfig.ClockSource = TIM_CLOCKSOURCE_INTERNAL;
  if (HAL_TIM_ConfigClockSource(&htim12, &sClockSourceConfig) != HAL_OK)
  {
    Error_Handler();
  }

}

static void MX_USART2_UART_Init(void)
{

  huart2.Instance = USART2;
  huart2.Init.BaudRate = 115200;
  huart2.Init.WordLength = UART_WORDLENGTH_8B;
  huart2.Init.StopBits = UART_STOPBITS_1;
  huart2.Init.Parity = UART_PARITY_NONE;
  huart2.Init.Mode = UART_MODE_TX_RX;
  huart2.Init.HwFlowCtl = UART_HWCONTROL_NONE;
  huart2.Init.OverSampling = UART_OVERSAMPLING_16;
  if (HAL_UART_Init(&huart2) != HAL_OK)
  {
    Error_Handler();
  }

}

static void MX_USART3_UART_Init(void)
{

  huart3.Instance = USART3;
  huart3.Init.BaudRate = 9600;
  huart3.Init.WordLength = UART_WORDLENGTH_8B;
  huart3.Init.StopBits = UART_STOPBITS_1;
  huart3.Init.Parity = UART_PARITY_NONE;
  huart3.Init.Mode = UART_MODE_TX_RX;
  huart3.Init.HwFlowCtl = UART_HWCONTROL_NONE;
  huart3.Init.OverSampling = UART_OVERSAMPLING_16;
  if (HAL_UART_Init(&huart3) != HAL_OK)
  {
    Error_Handler();
  }

}

static void MX_USART6_UART_Init(void)
{

  huart6.Instance = USART6;
  huart6.Init.BaudRate = 115200;
  huart6.Init.WordLength = UART_WORDLENGTH_8B;
  huart6.Init.StopBits = UART_STOPBITS_1;
  huart6.Init.Parity = UART_PARITY_NONE;
  huart6.Init.Mode = UART_MODE_TX_RX;
  huart6.Init.HwFlowCtl = UART_HWCONTROL_NONE;
  huart6.Init.OverSampling = UART_OVERSAMPLING_16;
  if (HAL_UART_Init(&huart6) != HAL_OK)
  {
    Error_Handler();
  }

}

static void MX_USB_OTG_FS_PCD_Init(void)
{

  hpcd_USB_OTG_FS.Instance = USB_OTG_FS;
  hpcd_USB_OTG_FS.Init.dev_endpoints = 6;
  hpcd_USB_OTG_FS.Init.speed = PCD_SPEED_FULL;
  hpcd_USB_OTG_FS.Init.dma_enable = DISABLE;
  hpcd_USB_OTG_FS.Init.phy_itface = PCD_PHY_EMBEDDED;
  hpcd_USB_OTG_FS.Init.Sof_enable = ENABLE;
  hpcd_USB_OTG_FS.Init.low_power_enable = DISABLE;
  hpcd_USB_OTG_FS.Init.lpm_enable = DISABLE;
  hpcd_USB_OTG_FS.Init.battery_charging_enable = ENABLE;
  hpcd_USB_OTG_FS.Init.vbus_sensing_enable = ENABLE;
  hpcd_USB_OTG_FS.Init.use_dedicated_ep1 = DISABLE;
  if (HAL_PCD_Init(&hpcd_USB_OTG_FS) != HAL_OK)
  {
    Error_Handler();
  }

}

static void MX_DMA_Init(void)
{

  /* DMA controller clock enable */
  __HAL_RCC_DMA1_CLK_ENABLE();
  __HAL_RCC_DMA2_CLK_ENABLE();

  /* DMA interrupt init */
  /* DMA1_Stream1_IRQn interrupt configuration */
  HAL_NVIC_SetPriority(DMA1_Stream1_IRQn, 0, 0);
  HAL_NVIC_EnableIRQ(DMA1_Stream1_IRQn);
  /* DMA1_Stream3_IRQn interrupt configuration */
  HAL_NVIC_SetPriority(DMA1_Stream3_IRQn, 0, 0);
  HAL_NVIC_EnableIRQ(DMA1_Stream3_IRQn);
  /* DMA1_Stream5_IRQn interrupt configuration */
  HAL_NVIC_SetPriority(DMA1_Stream5_IRQn, 0, 0);
  HAL_NVIC_EnableIRQ(DMA1_Stream5_IRQn);
  /* DMA2_Stream1_IRQn interrupt configuration */
  HAL_NVIC_SetPriority(DMA2_Stream1_IRQn, 0, 0);
  HAL_NVIC_EnableIRQ(DMA2_Stream1_IRQn);

}

static void MX_GPIO_Init(void)
{
  GPIO_InitTypeDef GPIO_InitStruct = {0};

  /* GPIO Ports Clock Enable */
  __HAL_RCC_GPIOC_CLK_ENABLE();
  __HAL_RCC_GPIOF_CLK_ENABLE();
  __HAL_RCC_GPIOH_CLK_ENABLE();
  __HAL_RCC_GPIOA_CLK_ENABLE();
  __HAL_RCC_GPIOE_CLK_ENABLE();
  __HAL_RCC_GPIOB_CLK_ENABLE();
  __HAL_RCC_GPIOD_CLK_ENABLE();
  __HAL_RCC_GPIOG_CLK_ENABLE();

  /*Configure GPIO pin Output Level */
  HAL_GPIO_WritePin(GPIOE, GPIO_PIN_7, GPIO_PIN_RESET);

  /*Configure GPIO pin Output Level */
  HAL_GPIO_WritePin(GPIOB, LD3_Pin|LD2_Pin, GPIO_PIN_RESET);

  /*Configure GPIO pin Output Level */
  HAL_GPIO_WritePin(GPIOG, GPIO_PIN_6, GPIO_PIN_RESET);

  /*Configure GPIO pin : USER_Btn_Pin */
  GPIO_InitStruct.Pin = USER_Btn_Pin;
  GPIO_InitStruct.Mode = GPIO_MODE_IT_RISING;
  GPIO_InitStruct.Pull = GPIO_NOPULL;
  HAL_GPIO_Init(USER_Btn_GPIO_Port, &GPIO_InitStruct);

  /*Configure GPIO pins : PF7 PF8 PF9 */
  GPIO_InitStruct.Pin = GPIO_PIN_7|GPIO_PIN_8|GPIO_PIN_9;
  GPIO_InitStruct.Mode = GPIO_MODE_INPUT;
  GPIO_InitStruct.Pull = GPIO_NOPULL;
  HAL_GPIO_Init(GPIOF, &GPIO_InitStruct);

  /*Configure GPIO pin : PE7 */
  GPIO_InitStruct.Pin = GPIO_PIN_7;
  GPIO_InitStruct.Mode = GPIO_MODE_OUTPUT_PP;
  GPIO_InitStruct.Pull = GPIO_NOPULL;
  GPIO_InitStruct.Speed = GPIO_SPEED_FREQ_LOW;
  HAL_GPIO_Init(GPIOE, &GPIO_InitStruct);

  /*Configure GPIO pins : LD3_Pin LD2_Pin */
  GPIO_InitStruct.Pin = LD3_Pin|LD2_Pin;
  GPIO_InitStruct.Mode = GPIO_MODE_OUTPUT_PP;
  GPIO_InitStruct.Pull = GPIO_NOPULL;
  GPIO_InitStruct.Speed = GPIO_SPEED_FREQ_LOW;
  HAL_GPIO_Init(GPIOB, &GPIO_InitStruct);

  /*Configure GPIO pins : PG2 PG3 */
  GPIO_InitStruct.Pin = GPIO_PIN_2|GPIO_PIN_3;
  GPIO_InitStruct.Mode = GPIO_MODE_IT_RISING_FALLING;
  GPIO_InitStruct.Pull = GPIO_NOPULL;
  HAL_GPIO_Init(GPIOG, &GPIO_InitStruct);

  /*Configure GPIO pin : PG6 */
  GPIO_InitStruct.Pin = GPIO_PIN_6;
  GPIO_InitStruct.Mode = GPIO_MODE_OUTPUT_PP;
  GPIO_InitStruct.Pull = GPIO_NOPULL;
  GPIO_InitStruct.Speed = GPIO_SPEED_FREQ_LOW;
  HAL_GPIO_Init(GPIOG, &GPIO_InitStruct);

  /*Configure GPIO pin : USB_OverCurrent_Pin */
  GPIO_InitStruct.Pin = USB_OverCurrent_Pin;
  GPIO_InitStruct.Mode = GPIO_MODE_INPUT;
  GPIO_InitStruct.Pull = GPIO_NOPULL;
  HAL_GPIO_Init(USB_OverCurrent_GPIO_Port, &GPIO_InitStruct);

  /*Configure GPIO pins : PC11 PC12 */
  GPIO_InitStruct.Pin = GPIO_PIN_11|GPIO_PIN_12;
  GPIO_InitStruct.Mode = GPIO_MODE_IT_RISING_FALLING;
  GPIO_InitStruct.Pull = GPIO_NOPULL;
  HAL_GPIO_Init(GPIOC, &GPIO_InitStruct);

  /*Configure GPIO pins : PD6 PD7 */
  GPIO_InitStruct.Pin = GPIO_PIN_6|GPIO_PIN_7;
  GPIO_InitStruct.Mode = GPIO_MODE_IT_RISING_FALLING;
  GPIO_InitStruct.Pull = GPIO_NOPULL;
  HAL_GPIO_Init(GPIOD, &GPIO_InitStruct);

  /* EXTI interrupt init*/
  HAL_NVIC_SetPriority(EXTI2_IRQn, 0, 0);
  HAL_NVIC_EnableIRQ(EXTI2_IRQn);

  HAL_NVIC_SetPriority(EXTI3_IRQn, 0, 0);
  HAL_NVIC_EnableIRQ(EXTI3_IRQn);

  HAL_NVIC_SetPriority(EXTI9_5_IRQn, 0, 0);
  HAL_NVIC_EnableIRQ(EXTI9_5_IRQn);

  HAL_NVIC_SetPriority(EXTI15_10_IRQn, 0, 0);
  HAL_NVIC_EnableIRQ(EXTI15_10_IRQn);

}

void Error_Handler(void)
{
	__disable_irq();
	while (1) {
	}
}
